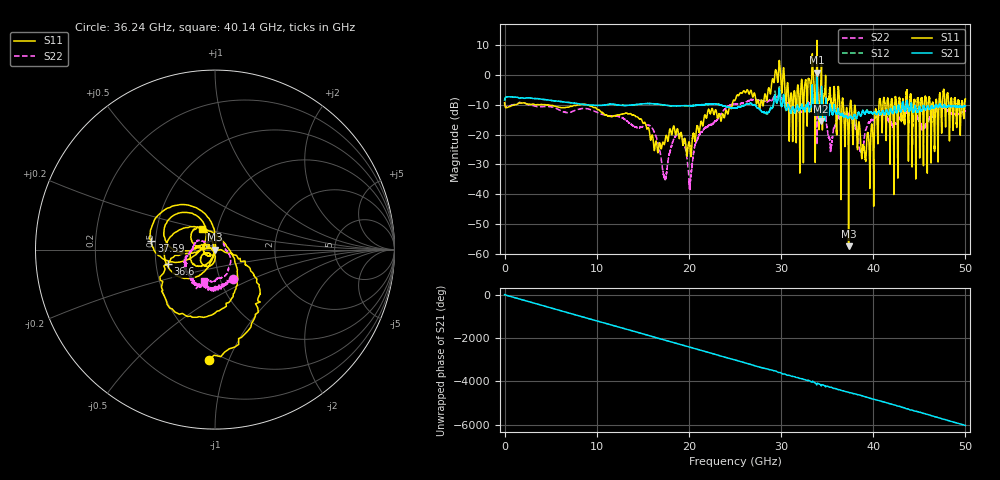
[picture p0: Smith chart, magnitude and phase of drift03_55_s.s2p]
!Created with skrf (http://scikit-rf.org).
# Hz S RI R 50.0
!freq ReS11 ImS11 ReS21 ImS21 ReS12 ImS12 ReS22 ImS22
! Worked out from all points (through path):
!   10001 points, 300 kHz to 50 GHz, reference 50 ohm
!   highest |S21| = 0.80 dB at 33.9 GHz (marker M1); lowest = -15.5 dB at 34.32 GHz (marker M2)
!   group delay of S21, straight-line fit = 335 ps
!   lowest |S11| = -57.4 dB at 37.33 GHz (marker M3), VSWR 1.00, Z = 49.9 - j0.0577 ohm
!   |S11| at or under -10 dB: 4.471 GHz to 8.192 GHz (3.721 GHz wide, 58.8 % of centre); 9.008 GHz to 24.7 GHz (15.69 GHz wide, 93.1 % of centre); 37.62 GHz to 40.62 GHz (3.002 GHz wide, 7.67 % of centre) (the widest 3 of 62)
!   |S22| runs from -38.4 to -5.9 dB; largest |S21 - S12| = 0.11
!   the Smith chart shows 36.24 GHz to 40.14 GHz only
!   S11 on the Smith chart (normalised r, x): 36.24 GHz: 0.43, -0.85; 36.6 GHz: 0.58, -0.10; 37.59 GHz: 0.47, +0.05; 40.14 GHz: 0.84, +0.20
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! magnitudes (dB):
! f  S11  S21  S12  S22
! 300 kHz  -9.3  -8.4  -8.4  -9.3
! 8.335 GHz  -9.9  -9.8  -9.8  -11.3
! 16.67 GHz  -25.5  -9.8  -9.8  -23.2
! 17.39 GHz  -22.6  -10.1  -10.1  -34.9
! 19.08 GHz  -19.7  -10.3  -10.3  -20.1
! 20.13 GHz  -24.7  -10.3  -10.3  -36.6
! 21.17 GHz  -18.2  -10.1  -10.1  -19.8
! 25 GHz  -8.5  -11.1  -11.1  -9.8
! 29.66 GHz  -2.3  -8.3  -8.4  -7.2
! 31.08 GHz  -6.1  -12.6  -12.7  -10.5
! 33.34 GHz  0.6  -7.4  -7.5  -9.4
! 33.9 GHz  11.6  0.8  0.4  -23.3
! 34.32 GHz  -2.9  -15.5  -14.9  -11.2
! 35.34 GHz  -6.1  -10.4  -9.9  -24.5
! 36.24 GHz  -4.2  -11.8  -11.7  -14.4
! 36.6 GHz  -11.2  -13.0  -13.0  -13.5
! 37.33 GHz  -57.4  -14.4  -14.5  -13.7
! 37.59 GHz  -8.9  -13.9  -13.9  -14.0
! 38.71 GHz  -26.1  -13.4  -13.4  -25.5
! 40.14 GHz  -17.3  -12.5  -12.6  -14.7
! 41.67 GHz  -9.5  -13.3  -13.2  -15.0
! 50 GHz  -8.0  -10.5  -10.6  -12.2
